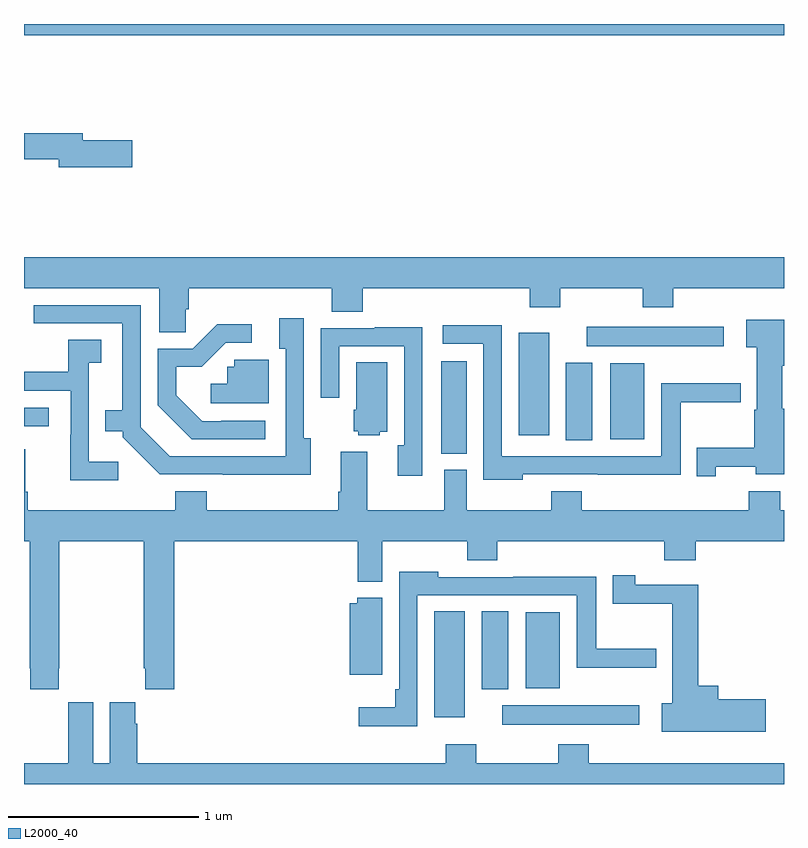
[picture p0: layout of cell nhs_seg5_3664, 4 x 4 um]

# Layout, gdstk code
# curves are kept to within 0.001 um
import gdstk
lib = gdstk.Library(unit=1e-6, precision=1e-09)
def R(c, l, rs):  # rectangles x0, y0, x1, y1
    for r in rs: c.add(gdstk.rectangle(r[:2], r[2:], *l))
def P(c, l, *ps):  # polygons
    for p in ps: c.add(gdstk.Polygon(p, *l))
L2000_40 = (2000, 40)

nhs_seg5_3664 = lib.new_cell('nhs_seg5_3664')
R(nhs_seg5_3664, L2000_40, [(329.517,873.11,330.238,873.214), (329.159,873.15,329.32,873.707), (329.408,873.299,329.548,873.707), (329.642,873.302,329.821,873.703), (329.195,874.537,329.329,875.023), (329.852,874.609,329.992,875.017), (330.086,874.613,330.265,875.014), (329.603,874.635,329.764,875.173), (327,874.683,327.13,874.779), (329.961,875.102,330.682,875.206), (327,876.74,331,876.799)])
P(nhs_seg5_3664, L2000_40, [(327.571,876.188),(327.31,876.188),(327.31,876.224),(327,876.224),(327,876.088),(327.182,876.088),(327.182,876.046),(327.571,876.046)],
  [(327.851,875.298),(327.866,875.298),(327.866,875.408),(328.619,875.408),(328.619,875.284),(328.784,875.284),(328.784,875.408),(329.663,875.408),(329.663,875.309),(329.823,875.309),(329.823,875.408),(330.256,875.408),(330.256,875.309),(330.416,875.309),(330.416,875.408),(331,875.408),(331,875.572),(327,875.572),(327,875.408),(327.713,875.408),(327.713,875.176),(327.851,875.176)],
  [(328.51,874.618),(328.473,874.618),(328.473,875.251),(328.343,875.251),(328.343,875.09),(328.377,875.09),(328.377,874.524),(327.768,874.524),(327.615,874.677),(327.615,875.319),(327.051,875.319),(327.051,875.223),(327.518,875.223),(327.518,874.765),(327.427,874.765),(327.427,874.655),(327.519,874.655),(327.519,874.623),(327.714,874.428),(328.51,874.427)],
  [(330.642,874.468),(330.851,874.468),(330.851,874.43),(331,874.43),(331,874.774),(330.992,874.774),(330.992,875),(331,875),(331,875.242),(330.801,875.242),(330.801,875.098),(330.857,875.098),(330.857,874.77),(330.844,874.77),(330.844,874.569),(330.542,874.569),(330.542,874.419),(330.642,874.419)],
  [(328.27,874.71),(328.039,874.71),(328.039,874.707),(327.939,874.707),(327.802,874.844),(327.802,874.994),(327.935,874.994),(328.062,875.121),(328.198,875.121),(328.198,875.219),(328.016,875.219),(327.888,875.091),(327.705,875.091),(327.705,874.793),(327.884,874.614),(328.27,874.614)],
  [(329.625,874.428),(330.019,874.428),(330.019,874.427),(330.457,874.427),(330.457,874.807),(330.772,874.807),(330.772,874.907),(330.353,874.907),(330.353,874.524),(329.514,874.524),(329.514,875.213),(329.205,875.213),(329.205,875.115),(329.418,875.115),(329.418,874.4),(329.625,874.4)],
  [(329.097,875.203),(328.847,875.203),(328.847,875.199),(328.563,875.199),(328.563,874.833),(328.659,874.833),(328.659,875.103),(329.001,875.103),(329.001,874.583),(328.967,874.583),(328.967,874.422),(329.097,874.422)],
  [(327.496,874.495),(327.342,874.495),(327.342,875.017),(327.406,875.017),(327.406,875.138),(327.234,875.138),(327.234,874.968),(327,874.968),(327,874.869),(327.246,874.869),(327.246,874.637),(327.244,874.637),(327.244,874.397),(327.496,874.397)],
  [(328.288,875.031),(328.107,875.031),(328.107,874.995),(328.071,874.995),(328.071,874.906),(327.984,874.906),(327.984,874.803),(328.288,874.803)],
  [(328.872,874.652),(328.912,874.652),(328.912,875.018),(328.748,875.018),(328.748,874.77),(328.736,874.77),(328.736,874.656),(328.758,874.656),(328.758,874.634),(328.872,874.634)],
  [(328.757,873.863),(328.885,873.863),(328.885,874.076),(329.332,874.076),(329.332,873.977),(329.492,873.977),(329.492,874.076),(330.371,874.076),(330.371,873.977),(330.536,873.977),(330.536,874.076),(331,874.076),(331,874.24),(330.98,874.24),(330.98,874.339),(330.815,874.339),(330.815,874.24),(329.936,874.24),(329.936,874.339),(329.776,874.339),(329.776,874.24),(329.329,874.24),(329.329,874.452),(329.213,874.452),(329.213,874.24),(328.807,874.24),(328.807,874.549),(328.667,874.549),(328.667,874.336),(328.655,874.336),(328.655,874.24),(327.962,874.24),(327.962,874.339),(327.797,874.339),(327.797,874.24),(327.02,874.24),(327.02,874.336),(327.007,874.336),(327.007,874.561),(327,874.561),(327,874.076),(327.031,874.076),(327.031,873.409),(327.033,873.409),(327.033,873.297),(327.183,873.297),(327.183,873.409),(327.186,873.409),(327.186,874.076),(327.631,874.076),(327.631,873.409),(327.637,873.409),(327.637,873.297),(327.791,873.297),(327.791,874.076),(328.757,874.076)],
  [(329.07,873.792),(329.909,873.792),(329.909,873.41),(330.328,873.41),(330.328,873.51),(330.013,873.51),(330.013,873.89),(329.575,873.89),(329.575,873.888),(329.181,873.888),(329.181,873.916),(328.974,873.916),(328.974,873.298),(328.954,873.298),(328.954,873.202),(328.761,873.202),(328.761,873.104),(329.07,873.104)],
  [(330.904,873.245),(330.655,873.245),(330.655,873.316),(330.548,873.316),(330.548,873.847),(330.216,873.847),(330.216,873.898),(330.098,873.898),(330.098,873.748),(330.413,873.748),(330.413,873.224),(330.357,873.224),(330.357,873.074),(330.904,873.074)],
  [(328.885,873.778),(328.755,873.778),(328.755,873.75),(328.715,873.75),(328.715,873.374),(328.885,873.374)],
  [(331,872.908),(329.972,872.908),(329.972,873.007),(329.812,873.007),(329.812,872.908),(329.379,872.908),(329.379,873.007),(329.219,873.007),(329.219,872.908),(327.596,872.908),(327.596,873.116),(327.586,873.116),(327.586,873.229),(327.452,873.229),(327.452,872.908),(327.364,872.908),(327.364,873.229),(327.234,873.229),(327.234,873.116),(327.233,873.116),(327.233,872.908),(327,872.908),(327,872.799),(331,872.799)])

lib.write_gds('nhs_seg5_3664.gds')
